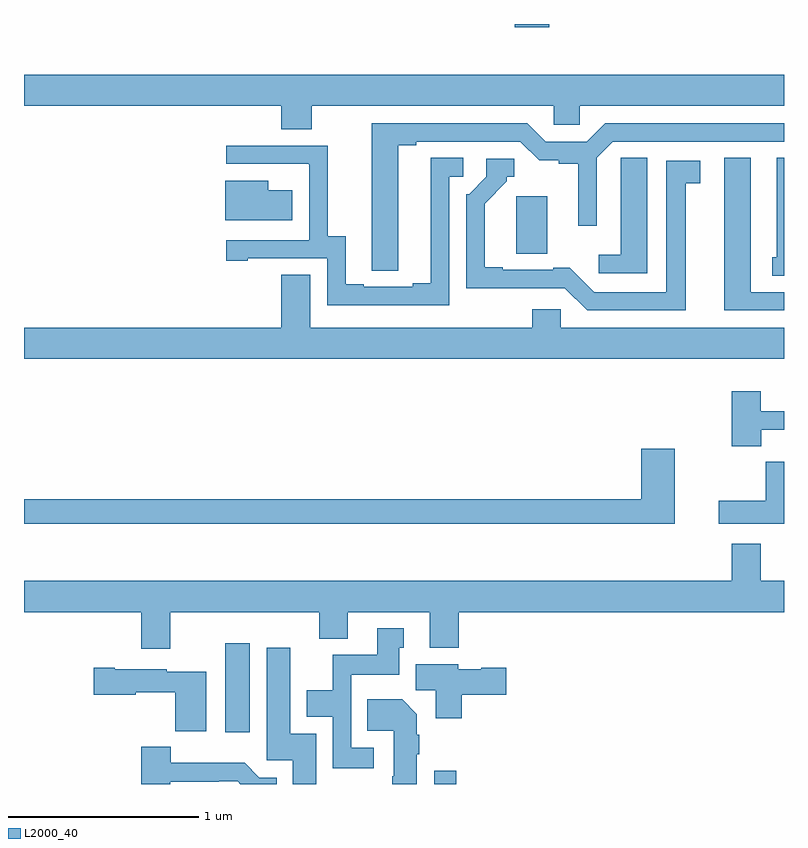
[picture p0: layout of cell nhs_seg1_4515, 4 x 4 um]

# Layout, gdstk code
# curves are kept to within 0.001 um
import gdstk
lib = gdstk.Library(unit=1e-6, precision=1e-09)
def R(c, l, rs):  # rectangles x0, y0, x1, y1
    for r in rs: c.add(gdstk.rectangle(r[:2], r[2:], *l))
def P(c, l, *ps):  # polygons
    for p in ps: c.add(gdstk.Polygon(p, *l))
L2000_40 = (2000, 40)

nhs_seg1_4515 = lib.new_cell('nhs_seg1_4515')
R(nhs_seg1_4515, L2000_40, [(359.16,512.199,359.276,512.269), (358.058,512.472,358.189,512.941), (359.582,516.183,359.765,516.199)])
P(nhs_seg1_4515, L2000_40, [(358.515,515.768),(359.787,515.768),(359.787,515.67),(359.925,515.67),(359.925,515.768),(361,515.768),(361,515.932),(357,515.932),(357,515.768),(358.355,515.768),(358.355,515.644),(358.515,515.644)],
  [(358.969,515.56),(359.065,515.56),(359.065,515.58),(359.613,515.58),(359.711,515.483),(359.814,515.483),(359.814,515.464),(359.918,515.464),(359.918,515.136),(360.015,515.136),(360.015,515.496),(360.099,515.58),(361,515.58),(361,515.676),(360.059,515.676),(359.963,515.58),(359.745,515.58),(359.649,515.676),(358.829,515.676),(358.83,514.9),(358.969,514.9)],
  [(359.238,515.394),(359.311,515.394),(359.311,515.495),(359.141,515.495),(359.141,514.835),(359.045,514.835),(359.045,514.815),(358.789,514.815),(358.789,514.83),(358.693,514.83),(358.693,515.081),(358.599,515.081),(358.599,515.559),(358.065,515.559),(358.065,515.463),(358.499,515.463),(358.499,515.462),(358.5,515.462),(358.5,515.061),(358.065,515.061),(358.065,514.953),(358.177,514.953),(358.177,514.965),(358.596,514.965),(358.596,514.719),(359.238,514.719)],
  [(360.28,515.495),(360.141,515.495),(360.141,515.387),(360.14,515.387),(360.14,514.984),(360.024,514.984),(360.024,514.887),(360.28,514.887)],
  [(361,514.788),(360.826,514.788),(360.826,515.494),(360.686,515.494),(360.686,514.692),(361,514.692)],
  [(361,515.494),(360.962,515.494),(360.962,514.971),(360.938,514.971),(360.938,514.873),(361,514.873)],
  [(360.484,515.362),(360.559,515.362),(360.559,515.478),(360.38,515.478),(360.38,514.788),(360,514.788),(359.872,514.916),(359.786,514.916),(359.786,514.905),(359.521,514.905),(359.521,514.918),(359.425,514.918),(359.425,515.254),(359.542,515.371),(359.542,515.394),(359.581,515.394),(359.581,515.49),(359.433,515.49),(359.433,515.394),(359.343,515.304),(359.328,515.304),(359.328,514.808),(359.847,514.809),(359.964,514.692),(360.484,514.692)],
  [(358.411,515.323),(358.285,515.323),(358.285,515.374),(358.058,515.374),(358.058,515.165),(358.411,515.165)],
  [(359.754,515.148),(359.755,515.148),(359.755,515.293),(359.591,515.293),(359.591,514.99),(359.754,514.99)],
  [(361,514.6),(359.826,514.6),(359.826,514.698),(359.675,514.698),(359.675,514.6),(358.507,514.6),(358.507,514.88),(358.355,514.88),(358.355,514.6),(357,514.6),(357,514.436),(361,514.436)],
  [(360.88,514.064),(361,514.064),(361,514.161),(360.877,514.161),(360.877,514.267),(360.725,514.267),(360.725,513.977),(360.88,513.977)],
  [(360.426,513.964),(360.248,513.964),(360.248,513.698),(357,513.698),(357,513.57),(360.426,513.57)],
  [(361,513.895),(360.904,513.895),(360.904,513.691),(360.657,513.691),(360.657,513.569),(361,513.569)],
  [(357.769,513.104),(358.553,513.104),(358.553,512.963),(358.705,512.963),(358.705,513.104),(359.135,513.104),(359.135,512.915),(359.288,512.915),(359.288,513.104),(361,513.104),(361,513.268),(360.877,513.268),(360.877,513.463),(360.725,513.463),(360.725,513.268),(357,513.268),(357,513.104),(357.617,513.104),(357.617,512.91),(357.769,512.91)],
  [(358.84,512.391),(358.722,512.391),(358.722,512.774),(358.975,512.774),(358.975,512.916),(358.999,512.916),(358.999,513.019),(358.859,513.019),(358.859,512.878),(358.624,512.878),(358.624,512.692),(358.487,512.692),(358.487,512.552),(358.626,512.552),(358.626,512.283),(358.84,512.283)],
  [(358.537,512.464),(358.402,512.464),(358.402,512.917),(358.277,512.917),(358.277,512.325),(358.415,512.325),(358.415,512.199),(358.537,512.199)],
  [(359.303,512.669),(359.539,512.669),(359.539,512.811),(359.406,512.811),(359.406,512.803),(359.286,512.803),(359.286,512.83),(359.063,512.83),(359.063,512.692),(359.168,512.692),(359.168,512.544),(359.303,512.544)],
  [(357.958,512.791),(357.75,512.791),(357.75,512.803),(357.478,512.803),(357.478,512.811),(357.366,512.811),(357.366,512.669),(357.588,512.669),(357.588,512.681),(357.796,512.681),(357.796,512.477),(357.958,512.477)],
  [(359.068,512.356),(359.081,512.356),(359.081,512.459),(359.068,512.459),(359.068,512.566),(358.99,512.644),(358.807,512.644),(358.807,512.48),(358.946,512.48),(358.946,512.239),(358.939,512.239),(358.939,512.199),(359.068,512.199)],
  [(357.769,512.211),(358.025,512.211),(358.025,512.214),(358.124,512.214),(358.139,512.199),(358.33,512.199),(358.33,512.232),(358.239,512.232),(358.161,512.311),(357.772,512.311),(357.772,512.395),(357.617,512.395),(357.617,512.199),(357.769,512.199)])

lib.write_gds('nhs_seg1_4515.gds')
